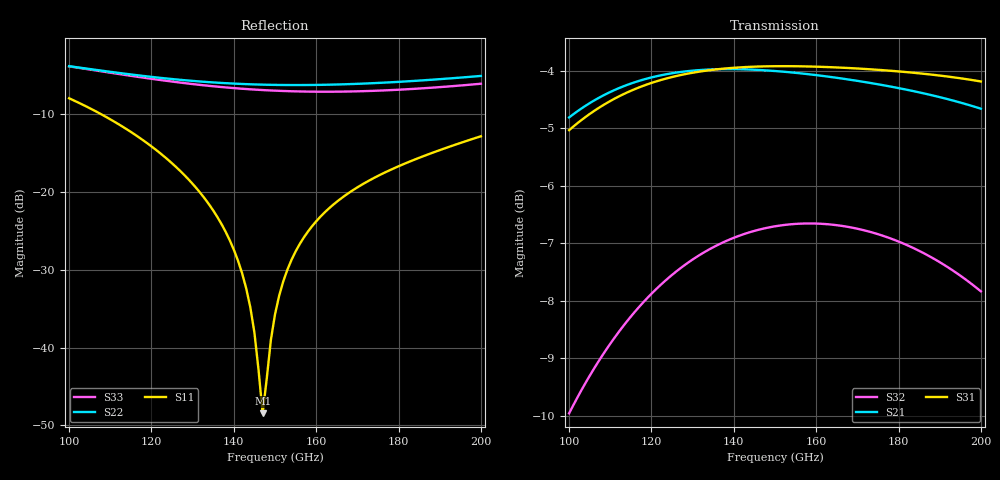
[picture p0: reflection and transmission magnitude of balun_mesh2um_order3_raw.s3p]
#  GHZ S DB R 50.0
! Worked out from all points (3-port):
!   101 points, 100 GHz to 200 GHz, reference 50 ohm
!   strongest paths, dB at 100 GHz, 125 GHz, 150 GHz, 175 GHz, 200 GHz:
!     S31: -5.0, -4.1, -3.9, -4.0, -4.2
!     S21: -4.8, -4.0, -4.0, -4.2, -4.7
!     S32: -10.0, -7.5, -6.7, -6.8, -7.8
!   lowest |S11| = -48.5 dB at 147 GHz (marker M1), VSWR 1.01, Z = 50.4 - j0.101 ohm
!   |S11| at or under -10 dB: 107.8 GHz to end of sweep
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100  -7.93 125.1  -4.81 -12.4  -5.03 164.1
     -4.81 -12.4  -3.80 59.1  -9.95 90.0
     -5.03 164.1  -9.95 90.0  -3.82 49.6
122  -14.95 92.7  -4.08 -46.0  -4.16 128.6
     -4.08 -46.0  -5.29 40.2  -7.74 57.7
     -4.16 128.6  -7.74 57.7  -5.57 27.8
136  -23.20 74.8  -3.97 -65.3  -3.97 108.1
     -3.97 -65.3  -5.93 30.4  -7.03 38.8
     -3.97 108.1  -7.03 38.8  -6.44 16.6
143  -32.37 62.1  -3.97 -74.5  -3.93 98.4
     -3.97 -74.5  -6.11 25.7  -6.82 29.8
     -3.93 98.4  -6.82 29.8  -6.74 11.5
145  -38.08 51.8  -3.98 -77.0  -3.93 95.7
     -3.98 -77.0  -6.15 24.3  -6.78 27.3
     -3.93 95.7  -6.78 27.3  -6.81 10.0
147  -48.46 -15.4  -3.99 -79.6  -3.92 93.0
     -3.99 -79.6  -6.18 23.0  -6.74 24.7
     -3.92 93.0  -6.74 24.7  -6.87 8.6
150  -35.73 -101.7  -4.00 -83.4  -3.92 89.0
     -4.00 -83.4  -6.21 21.0  -6.70 21.0
     -3.92 89.0  -6.70 21.0  -6.95 6.5
155  -27.64 -113.7  -4.03 -89.6  -3.92 82.4
     -4.03 -89.6  -6.23 17.5  -6.66 14.8
     -3.92 82.4  -6.66 14.8  -7.04 2.9
164  -21.68 -122.6  -4.11 -100.6  -3.94 70.7
     -4.11 -100.6  -6.17 11.0  -6.67 3.9
     -3.94 70.7  -6.67 3.9  -7.09 -3.7
200  -12.82 -145.8  -4.66 -144.2  -4.18 24.5
     -4.66 -144.2  -5.06 -19.7  -7.83 -39.3
     -4.18 24.5  -7.83 -39.3  -6.06 -34.1
